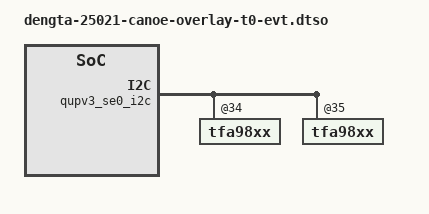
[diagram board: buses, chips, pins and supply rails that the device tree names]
// SPDX-License-Identifier: BSD-3-Clause
/dts-v1/;
/plugin/;

#include "dengta-25021-canoe.dtsi"

/ {
	oplus,hw-id = <OPLUS_PRE_T0 OPLUS_EVB1 OPLUS_EVB2 OPLUS_T0 OPLUS_EVT1 OPLUS_EVT2>;
};

&qupv3_se0_i2c {
	tfa98xx@34 {
		tfa_fw_name = "tfa98xx_evt.cnt";
	};
	tfa98xx@35 {
		tfa_fw_name = "tfa98xx_evt.cnt";
	};
};
